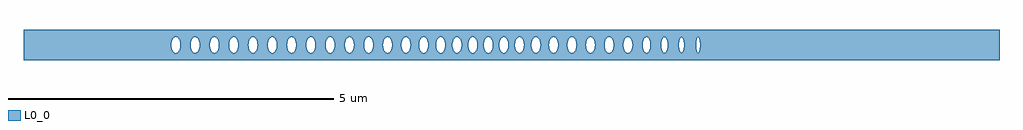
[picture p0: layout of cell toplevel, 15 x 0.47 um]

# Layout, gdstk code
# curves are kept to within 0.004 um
import gdstk
lib = gdstk.Library(unit=1e-6, precision=1e-09)
def P(c, l, *ps):  # polygons
    for p in ps: c.add(gdstk.Polygon(p, *l))
L0_0 = (0, 0)

toplevel = lib.new_cell('toplevel')
P(toplevel, L0_0, [(-4.635,0.023),(-4.617,0.085),(-4.617,0.235),(-7.5,0.235),(-7.5,-0.016),(-5.229,-0.016),(-5.226,0.038),(-5.216,0.073),(-5.193,0.109),(-5.163,0.124),(-5.137,0.118),(-5.114,0.096),(-5.093,0.046),(-5.089,-0.008),(-4.933,-0.008),(-4.93,0.038),(-4.917,0.079),(-4.896,0.109),(-4.867,0.124),(-4.841,0.118),(-4.814,0.09),(-4.797,0.046),(-4.792,0.008),(-4.795,-0.038),(-4.805,-0.073),(-4.832,-0.112),(-4.858,-0.124),(-4.884,-0.118),(-4.911,-0.09),(-4.928,-0.046),(-4.933,-0.008),(-5.089,-0.008),(-5.093,-0.046),(-5.114,-0.096),(-5.137,-0.118),(-5.155,-0.124),(-5.181,-0.118),(-5.204,-0.096),(-5.221,-0.06),(-5.229,-0.016),(-7.5,-0.016),(-7.5,-0.235),(-4.617,-0.235),(-4.617,-0.085),(-4.632,-0.046)],
  [(-4.043,0.016),(-4.035,0.06),(-4.018,0.096),(-3.995,0.118),(-3.969,0.124),(-3.969,0.235),(-4.617,0.235),(-4.617,0.085),(-4.6,0.109),(-4.579,0.122),(-4.553,0.122),(-4.532,0.109),(-4.504,0.06),(-4.496,-0.008),(-4.34,-0.008),(-4.337,0.038),(-4.327,0.073),(-4.3,0.112),(-4.274,0.124),(-4.248,0.118),(-4.221,0.09),(-4.204,0.046),(-4.199,0.008),(-4.201,-0.031),(-4.215,-0.079),(-4.236,-0.109),(-4.265,-0.124),(-4.291,-0.118),(-4.318,-0.09),(-4.335,-0.046),(-4.34,-0.008),(-4.496,-0.008),(-4.509,-0.073),(-4.521,-0.096),(-4.544,-0.118),(-4.562,-0.124),(-4.584,-0.12),(-4.604,-0.105),(-4.617,-0.085),(-4.617,-0.235),(-3.969,-0.235),(-3.969,-0.124),(-3.995,-0.118),(-4.024,-0.085),(-4.039,-0.046)],
  [(-3.45,0.016),(-3.437,0.073),(-3.418,0.105),(-3.398,0.12),(-3.376,0.124),(-3.358,0.118),(-3.342,0.105),(-3.323,0.073),(-3.323,0.235),(-3.969,0.235),(-3.969,0.124),(-3.939,0.109),(-3.922,0.085),(-3.909,0.053),(-3.903,-0.008),(-3.747,-0.008),(-3.744,0.038),(-3.734,0.073),(-3.711,0.109),(-3.681,0.124),(-3.655,0.118),(-3.628,0.09),(-3.611,0.046),(-3.606,0.008),(-3.608,-0.031),(-3.622,-0.079),(-3.643,-0.109),(-3.672,-0.124),(-3.703,-0.115),(-3.725,-0.09),(-3.742,-0.046),(-3.747,-0.008),(-3.903,-0.008),(-3.909,-0.053),(-3.928,-0.096),(-3.951,-0.118),(-3.969,-0.124),(-3.969,-0.235),(-3.323,-0.235),(-3.323,-0.073),(-3.335,-0.096),(-3.358,-0.118),(-3.376,-0.124),(-3.402,-0.118),(-3.425,-0.096),(-3.44,-0.066)],
  [(-2.56,0.022),(-2.56,0.235),(-3.323,0.235),(-3.323,0.072),(-3.313,0.038),(-3.31,-0.016),(-3.154,-0.016),(-3.151,0.038),(-3.141,0.073),(-3.118,0.109),(-3.088,0.124),(-3.062,0.118),(-3.035,0.09),(-3.018,0.046),(-3.013,0),(-2.858,0),(-2.853,0.046),(-2.838,0.085),(-2.821,0.109),(-2.792,0.124),(-2.765,0.118),(-2.742,0.096),(-2.725,0.06),(-2.717,0.016),(-2.72,-0.038),(-2.73,-0.073),(-2.753,-0.109),(-2.783,-0.124),(-2.809,-0.118),(-2.832,-0.096),(-2.853,-0.046),(-2.858,0),(-3.013,0),(-3.018,-0.046),(-3.032,-0.085),(-3.05,-0.109),(-3.079,-0.124),(-3.105,-0.118),(-3.129,-0.096),(-3.141,-0.073),(-3.154,-0.016),(-3.31,-0.016),(-3.323,-0.073),(-3.323,-0.235),(-2.56,-0.235)],
  [(-2.559,0.031),(-2.536,0.096),(-2.512,0.118),(-2.486,0.124),(-2.457,0.109),(-2.439,0.085),(-2.425,0.046),(-2.42,-0.008),(-2.266,-0.008),(-2.261,0.046),(-2.247,0.085),(-2.217,0.118),(-2.191,0.124),(-2.161,0.109),(-2.144,0.085),(-2.128,0.038),(-2.125,-0.008),(-2.128,-0.038),(-2.144,-0.085),(-2.161,-0.109),(-2.191,-0.124),(-2.217,-0.118),(-2.244,-0.09),(-2.261,-0.046),(-2.266,-0.008),(-2.42,-0.008),(-2.425,-0.046),(-2.439,-0.085),(-2.457,-0.109),(-2.486,-0.124),(-2.512,-0.118),(-2.536,-0.096),(-2.548,-0.073),(-2.56,-0.023),(-2.56,-0.235),(-1.946,-0.235),(-1.946,-0.1),(-1.967,-0.06),(-1.975,-0.016),(-1.969,0.053),(-1.946,0.1),(-1.946,0.235),(-2.56,0.235)],
  [(-1.42,0.016),(-1.41,0.066),(-1.388,0.105),(-1.363,0.122),(-1.333,0.12),(-1.333,0.235),(-1.946,0.235),(-1.946,0.1),(-1.927,0.118),(-1.909,0.124),(-1.892,0.122),(-1.871,0.109),(-1.843,0.06),(-1.835,-0.008),(-1.693,-0.008),(-1.691,0.031),(-1.677,0.079),(-1.656,0.109),(-1.627,0.124),(-1.601,0.118),(-1.577,0.096),(-1.565,0.073),(-1.552,0.016),(-1.555,-0.038),(-1.565,-0.073),(-1.588,-0.109),(-1.618,-0.124),(-1.644,-0.118),(-1.671,-0.09),(-1.688,-0.046),(-1.693,-0.008),(-1.835,-0.008),(-1.845,-0.066),(-1.871,-0.109),(-1.892,-0.122),(-1.909,-0.124),(-1.927,-0.118),(-1.946,-0.1),(-1.946,-0.235),(-1.333,-0.235),(-1.333,-0.12),(-1.363,-0.122),(-1.395,-0.096),(-1.416,-0.046)],
  [(-0.907,0.016),(-0.903,0.046),(-0.886,0.09),(-0.871,0.109),(-0.842,0.124),(-0.824,0.122),(-0.8,0.105),(-0.78,0.073),(-0.77,0.038),(-0.77,0.235),(-1.333,0.235),(-1.333,0.12),(-1.312,0.105),(-1.293,0.073),(-1.283,0.038),(-1.28,-0.016),(-1.159,-0.016),(-1.156,0.038),(-1.146,0.073),(-1.123,0.109),(-1.093,0.124),(-1.067,0.118),(-1.04,0.09),(-1.023,0.046),(-1.018,0.008),(-1.02,-0.031),(-1.034,-0.079),(-1.055,-0.109),(-1.084,-0.124),(-1.11,-0.118),(-1.134,-0.096),(-1.146,-0.073),(-1.159,-0.016),(-1.28,-0.016),(-1.286,-0.053),(-1.299,-0.085),(-1.312,-0.105),(-1.333,-0.12),(-1.333,-0.235),(-0.77,-0.235),(-0.77,-0.038),(-0.78,-0.073),(-0.8,-0.105),(-0.824,-0.122),(-0.851,-0.122),(-0.875,-0.105),(-0.892,-0.079),(-0.906,-0.031)],
  [(-0.768,-0.023),(-0.77,-0.235),(-0.178,-0.235),(-0.178,-0.066),(-0.189,-0.016),(-0.187,0.031),(-0.178,0.065),(-0.178,0.235),(-0.77,0.235),(-0.767,-0.008),(-0.665,-0.008),(-0.66,0.046),(-0.646,0.085),(-0.616,0.118),(-0.59,0.124),(-0.56,0.109),(-0.537,0.073),(-0.527,0.038),(-0.524,-0.016),(-0.426,-0.016),(-0.42,0.053),(-0.394,0.105),(-0.36,0.124),(-0.343,0.122),(-0.322,0.109),(-0.294,0.06),(-0.286,-0.016),(-0.304,-0.085),(-0.338,-0.12),(-0.369,-0.122),(-0.394,-0.105),(-0.418,-0.06),(-0.426,-0.016),(-0.524,-0.016),(-0.537,-0.073),(-0.549,-0.096),(-0.568,-0.115),(-0.59,-0.124),(-0.616,-0.118),(-0.643,-0.09),(-0.66,-0.046),(-0.665,-0.008),(-0.767,-0.008)],
  [(-0.176,0.073),(-0.164,0.096),(-0.145,0.115),(-0.123,0.124),(-0.105,0.122),(-0.081,0.105),(-0.064,0.079),(-0.05,0.031),(-0.048,-0.008),(0.052,-0.008),(0.055,0.038),(0.071,0.085),(0.096,0.115),(0.127,0.124),(0.156,0.109),(0.174,0.085),(0.188,0.046),(0.193,-0.008),(0.188,-0.046),(0.174,-0.085),(0.156,-0.109),(0.127,-0.124),(0.096,-0.115),(0.074,-0.09),(0.057,-0.046),(0.052,-0.008),(-0.048,-0.008),(-0.064,-0.079),(-0.081,-0.105),(-0.105,-0.122),(-0.132,-0.122),(-0.153,-0.109),(-0.178,-0.066),(-0.178,-0.235),(0.362,-0.235),(0.362,-0.122),(0.342,-0.109),(0.324,-0.085),(0.31,-0.046),(0.305,-0.008),(0.307,0.031),(0.321,0.079),(0.338,0.105),(0.362,0.122),(0.362,0.235),(-0.178,0.235)],
  [(0.371,0.124),(0.397,0.118),(0.421,0.096),(0.443,0.038),(0.446,-0.008),(0.575,-0.008),(0.58,0.046),(0.601,0.096),(0.628,0.12),(0.659,0.122),(0.684,0.105),(0.703,0.073),(0.713,0.038),(0.716,-0.016),(0.71,-0.053),(0.691,-0.096),(0.668,-0.118),(0.641,-0.124),(0.612,-0.109),(0.594,-0.085),(0.58,-0.046),(0.575,-0.008),(0.446,-0.008),(0.441,-0.046),(0.421,-0.096),(0.389,-0.122),(0.362,-0.122),(0.362,-0.235),(0.976,-0.235),(0.976,-0.09),(0.946,-0.12),(0.924,-0.124),(0.906,-0.118),(0.89,-0.105),(0.871,-0.073),(0.858,-0.016),(0.866,0.06),(0.894,0.109),(0.915,0.122),(0.937,0.123),(0.962,0.109),(0.976,0.09),(0.976,0.235),(0.362,0.235),(0.362,0.122)],
  [(1.568,-0.031),(1.555,-0.079),(1.538,-0.105),(1.513,-0.122),(1.487,-0.122),(1.462,-0.105),(1.443,-0.073),(1.433,-0.038),(1.43,0.016),(1.436,0.053),(1.455,0.096),(1.478,0.118),(1.505,0.124),(1.534,0.109),(1.552,0.085),(1.566,0.046),(1.571,0.008),(1.571,0.235),(0.976,0.235),(0.976,0.09),(0.994,0.046),(0.998,-0.016),(1.144,-0.016),(1.147,0.038),(1.157,0.073),(1.18,0.109),(1.21,0.124),(1.236,0.118),(1.266,0.085),(1.28,0.046),(1.285,0),(1.28,-0.046),(1.266,-0.085),(1.248,-0.109),(1.219,-0.124),(1.192,-0.118),(1.169,-0.096),(1.152,-0.06),(1.144,-0.016),(0.998,-0.016),(0.99,-0.06),(0.976,-0.09),(0.976,-0.235),(1.571,-0.235)],
  [(1.858,-0.023),(1.851,-0.06),(1.834,-0.096),(1.811,-0.118),(1.785,-0.124),(1.767,-0.118),(1.744,-0.096),(1.732,-0.073),(1.719,-0.016),(1.571,-0.016),(1.571,-0.235),(2.357,-0.235),(2.357,-0.121),(2.335,-0.116),(2.318,-0.094),(2.304,-0.052),(2.3,-0.015),(2.302,0.038),(2.313,0.084),(2.335,0.116),(2.357,0.121),(2.357,0.235),(1.571,0.235),(1.571,-0.016),(1.719,-0.016),(1.722,0.038),(1.732,0.073),(1.755,0.109),(1.785,0.124),(1.811,0.118),(1.841,0.085),(1.855,0.046),(1.86,-0.008),(2.015,-0.008),(2.019,0.045),(2.04,0.1),(2.072,0.123),(2.102,0.111),(2.12,0.084),(2.131,0.052),(2.136,-0.015),(2.12,-0.084),(2.091,-0.119),(2.064,-0.121),(2.04,-0.1),(2.019,-0.045),(2.015,-0.008),(1.86,-0.008)],
  [(2.4,-0.023),(2.383,-0.094),(2.357,-0.121),(2.357,-0.235),(7.5,-0.235),(7.5,0.235),(2.357,0.235),(2.357,0.121),(2.375,0.107),(2.387,0.084),(2.395,0.059),(2.401,-0.008),(2.572,-0.008),(2.583,0.083),(2.593,0.106),(2.61,0.121),(2.628,0.113),(2.643,0.083),(2.652,0.037),(2.653,-0.015),(2.837,-0.015),(2.841,0.058),(2.856,0.112),(2.866,0.12),(2.874,0.118),(2.893,0.071),(2.899,0.008),(2.896,-0.051),(2.883,-0.105),(2.87,-0.12),(2.856,-0.112),(2.848,-0.092),(2.837,-0.015),(2.653,-0.015),(2.643,-0.083),(2.628,-0.113),(2.615,-0.121),(2.598,-0.113),(2.583,-0.083),(2.572,-0.008),(2.401,-0.008)])

lib.write_gds('toplevel.gds')
